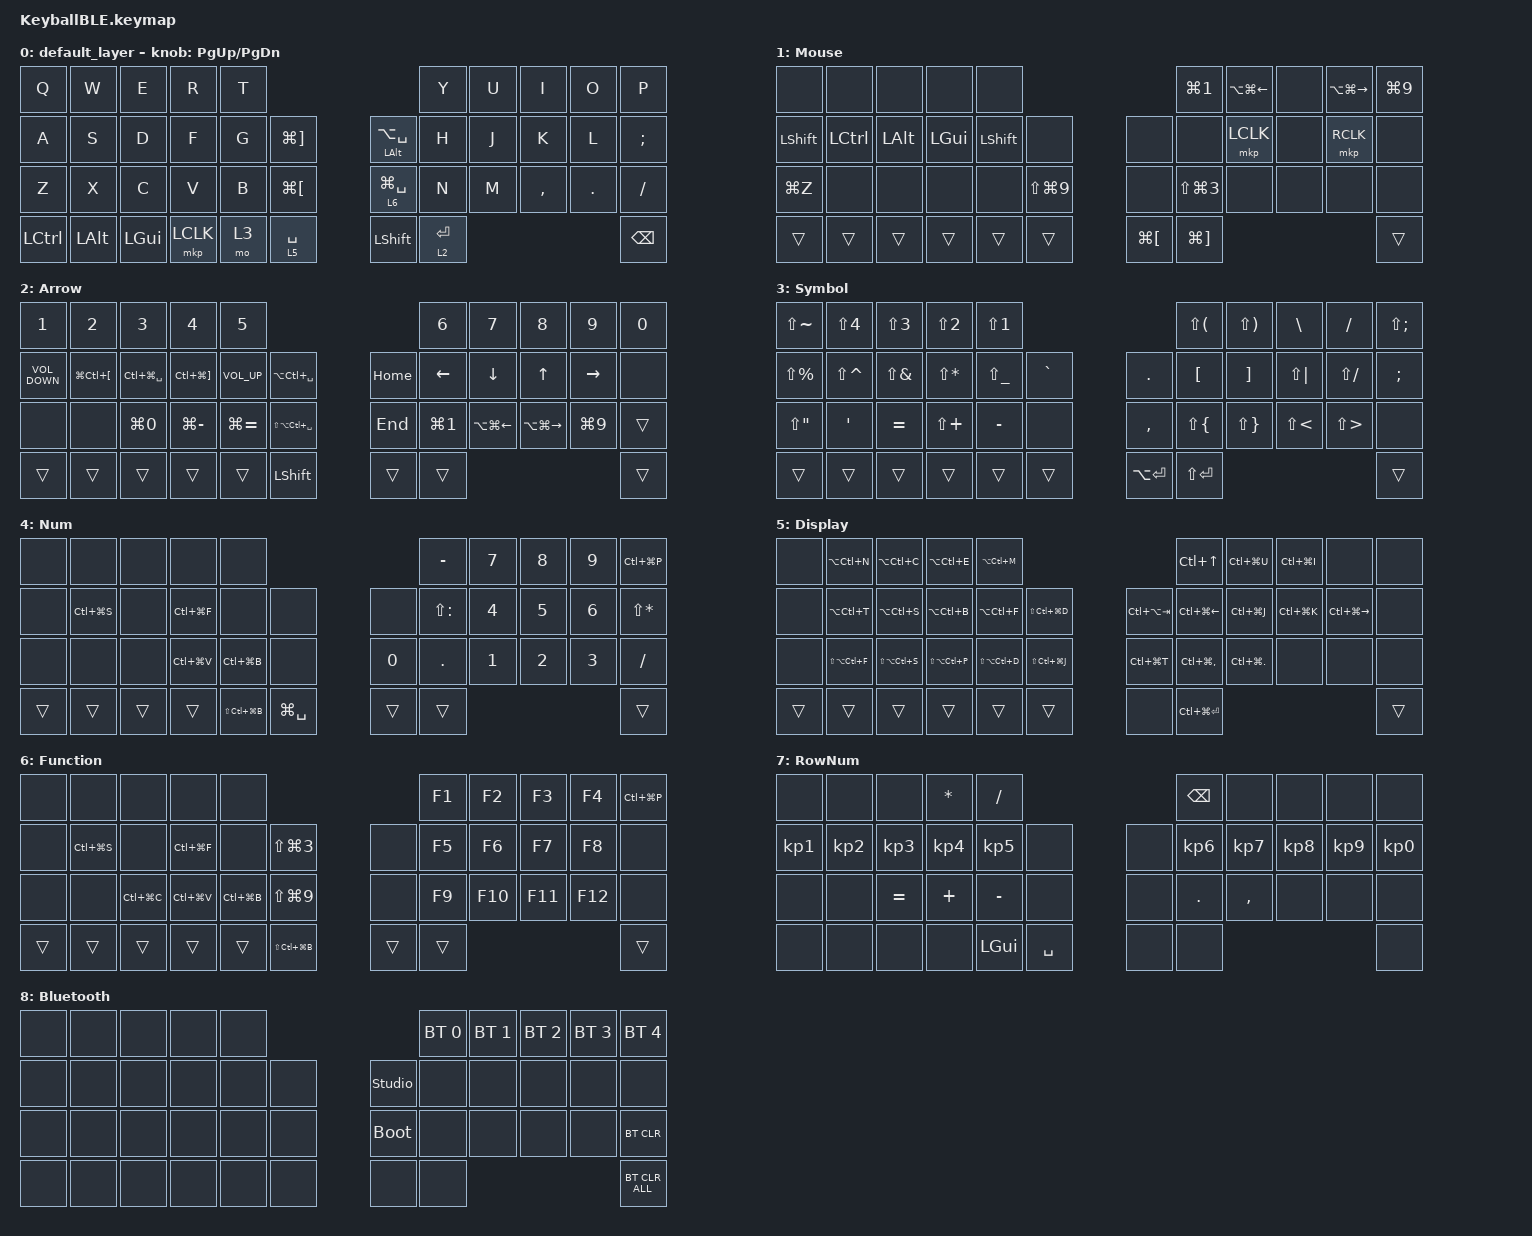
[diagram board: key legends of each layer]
#include <behaviors.dtsi>
#include <dt-bindings/zmk/bt.h>
#include <dt-bindings/zmk/keys.h>
#include <dt-bindings/zmk/pointing.h>

#define MOUSE 4
#define SCROLL 5
#define NUM 6

&mt {
    flavor = "balanced";
    quick-tap-ms = <0>;
};

/ {
    combos {
        compatible = "zmk,combos";

        tab {
            bindings = <&kp TAB>;
            key-positions = <13 12>;
            layers = <0>;
        };

        esc {
            bindings = <&kp ESCAPE>;
            key-positions = <0 1>;
        };

        ime {
            bindings = <&kp LC(SPACE)>;
            key-positions = <18 19>;
            layers = <0>;
        };

        rightperenthensis {
            bindings = <&kp LEFT_PARENTHESIS>;
            key-positions = <5 6>;
        };

        leftparenthesis {
            bindings = <&kp RIGHT_PARENTHESIS>;
            key-positions = <6 7>;
        };

        screenshot {
            bindings = <&kp LS(LG(NUMBER_3))>;
            key-positions = <31 32>;
        };
    };

    macros {
        to_layer_0: to_layer_0 {
            compatible = "zmk,behavior-macro-one-param";
            #binding-cells = <1>;
            bindings = <&to 0 &macro_param_1to1 &kp MACRO_PLACEHOLDER>;
            label = "TO_LAYER_0";
        };
    };

    behaviors {
        lt_to_layer_0: lt_to_layer_0 {
            compatible = "zmk,behavior-hold-tap";
            label = "LAYER_TAP_TO_0";
            bindings = <&mo>, <&to_layer_0>;

            #binding-cells = <2>;
            tapping-term-ms = <200>;
        };
    };

    keymap {
        compatible = "zmk,keymap";

        default_layer {
            bindings = <
&kp Q      &kp W         &kp E         &kp R      &kp T                                                     &kp Y        &kp U  &kp I      &kp O       &kp P
&kp A      &kp S         &kp D         &kp F      &kp G  &kp LG(RIGHT_BRACKET)      &mt LEFT_ALT LA(SPACE)  &kp H        &kp J  &kp K      &kp L       &kp SEMI
&kp Z      &kp X         &kp C         &kp V      &kp B  &kp LG(LEFT_BRACKET)       &lt 6 LG(SPACE)         &kp N        &kp M  &kp COMMA  &kp PERIOD  &kp SLASH
&kp LCTRL  &kp LEFT_ALT  &kp LEFT_GUI  &mkp LCLK  &mo 3  &lt 5 SPACE                &kp LEFT_SHIFT          &lt 2 ENTER                                &kp BACKSPACE
            >;

            sensor-bindings = <&inc_dec_kp PG_UP PAGE_DOWN>;
        };

        Mouse {
            bindings = <
&none           &none      &none         &none         &none                                                           &kp LG(NUMBER_1)       &kp LA(LG(LEFT_ARROW))  &none  &kp LA(LG(RIGHT_ARROW))  &kp LG(NUMBER_9)
&kp LEFT_SHIFT  &kp LCTRL  &kp LEFT_ALT  &kp LEFT_GUI  &kp LEFT_SHIFT  &none                     &none                 &none                  &mkp LCLK               &none  &mkp RCLK                &none
&kp LG(Z)       &none      &none         &none         &none           &kp LS(LG(NUMBER_9))      &none                 &kp LS(LG(NUMBER_3))   &none                   &none  &none                    &none
&trans          &trans     &trans        &trans        &trans          &trans                    &kp LG(LEFT_BRACKET)  &kp LG(RIGHT_BRACKET)                                                          &trans
            >;
        };

        Arrow {
            bindings = <
&kp NUMBER_1       &kp NUMBER_2              &kp NUMBER_3       &kp NUMBER_4               &kp N5                                                &kp NUMBER_6      &kp NUMBER_7            &kp N8                   &kp NUMBER_9      &kp NUMBER_0
&kp C_VOLUME_DOWN  &kp LG(LC(LEFT_BRACKET))  &kp LC(LG(SPACE))  &kp LC(LG(RIGHT_BRACKET))  &kp C_VOLUME_UP  &kp LA(LC(SPACE))          &kp HOME  &kp LEFT_ARROW    &kp DOWN_ARROW          &kp UP_ARROW             &kp RIGHT_ARROW   &none
&none              &none                     &kp LG(NUMBER_0)   &kp LG(MINUS)              &kp LG(EQUAL)    &kp LS(LA(LC(SPACE)))      &kp END   &kp LG(NUMBER_1)  &kp LA(LG(LEFT_ARROW))  &kp LA(LG(RIGHT_ARROW))  &kp LG(NUMBER_9)  &trans
&trans             &trans                    &trans             &trans                     &trans           &kp LEFT_SHIFT             &trans    &trans                                                                               &trans
            >;
        };

        Symbol {
            bindings = <
&kp LS(TILDE)  &kp LS(NUMBER_4)  &kp LS(NUMBER_3)  &kp LS(NUMBER_2)  &kp LS(NUMBER_1)                                &kp LS(LPAR)   &kp LS(RPAR)  &kp BACKSLASH  &kp SLASH      &kp LS(SEMICOLON)
&kp LS(PRCNT)  &kp LS(CARET)     &kp LS(AMPS)      &kp LS(STAR)      &kp LS(UNDER)     &kp GRAVE      &kp PERIOD     &kp LBKT       &kp RBKT      &kp LS(PIPE)   &kp LS(SLASH)  &kp SEMICOLON
&kp LS(DQT)    &kp SQT           &kp EQUAL         &kp LS(PLUS)      &kp MINUS         &none          &kp COMMA      &kp LS(LBRC)   &kp LS(RBRC)  &kp LS(LT)     &kp LS(GT)     &none
&trans         &trans            &trans            &trans            &trans            &trans         &kp LA(ENTER)  &kp LS(ENTER)                                              &trans
            >;
        };

        Num {
            bindings = <
&none   &none          &none   &none          &none                                         &kp MINUS      &kp N7  &kp N8  &kp N9  &kp LC(LG(P))
&none   &kp LC(LG(S))  &none   &kp LC(LG(F))  &none              &none              &none   &kp LS(COLON)  &kp N4  &kp N5  &kp N6  &kp LS(STAR)
&none   &none          &none   &kp LC(LG(V))  &kp LC(LG(B))      &none              &kp N0  &kp DOT        &kp N1  &kp N2  &kp N3  &kp FSLH
&trans  &trans         &trans  &trans         &kp LS(LC(LG(B)))  &kp LG(SPACE)      &trans  &trans                                 &trans
            >;
        };

        Display {
            bindings = <
&none   &kp LA(LC(N))      &kp LA(LC(C))      &kp LA(LC(E))      &kp LA(LC(M))                                              &kp LC(UP_ARROW)        &kp LC(LG(U))       &kp LC(LG(I))  &none                    &none
&none   &kp LA(LC(T))      &kp LA(LC(S))      &kp LA(LC(B))      &kp LA(LC(F))      &kp LS(LC(LG(D)))      &kp LC(LA(TAB))  &kp LC(LG(LEFT_ARROW))  &kp LC(LG(J))       &kp LC(LG(K))  &kp LC(LG(RIGHT_ARROW))  &none
&none   &kp LS(LA(LC(F)))  &kp LS(LA(LC(S)))  &kp LS(LA(LC(P)))  &kp LS(LA(LC(D)))  &kp LS(LC(LG(J)))      &kp LC(LG(T))    &kp LC(LG(COMMA))       &kp LC(LG(PERIOD))  &none          &none                    &none
&trans  &trans             &trans             &trans             &trans             &trans                 &none            &kp LC(LG(ENTER))                                                                   &trans
            >;
        };

        Function {
            bindings = <
&none   &none          &none          &none          &none                                            &kp F1  &kp F2   &kp F3   &kp F4   &kp LC(LG(P))
&none   &kp LC(LG(S))  &none          &kp LC(LG(F))  &none          &kp LS(LG(NUMBER_3))      &none   &kp F5  &kp F6   &kp F7   &kp F8   &none
&none   &none          &kp LC(LG(C))  &kp LC(LG(V))  &kp LC(LG(B))  &kp LS(LG(NUMBER_9))      &none   &kp F9  &kp F10  &kp F11  &kp F12  &none
&trans  &trans         &trans         &trans         &trans         &kp LS(LC(LG(B)))         &trans  &trans                             &trans
            >;
        };

        RowNum {
            bindings = <
&none            &none            &none            &kp ASTERISK     &kp SLASH                              &kp BACKSPACE    &none            &none            &none            &none
&kp KP_NUMBER_1  &kp KP_NUMBER_2  &kp KP_NUMBER_3  &kp KP_NUMBER_4  &kp KP_NUMBER_5  &none          &none  &kp KP_NUMBER_6  &kp KP_NUMBER_7  &kp KP_NUMBER_8  &kp KP_NUMBER_9  &kp KP_NUMBER_0
&none            &none            &kp EQUAL        &kp PLUS         &kp MINUS        &none          &none  &kp PERIOD       &kp COMMA        &none            &none            &none
&none            &none            &none            &none            &kp LEFT_GUI     &kp SPACE      &none  &none                                                               &none
            >;
        };

        Bluetooth {
            bindings = <
&none  &none  &none  &none  &none                             &bt BT_SEL 0  &bt BT_SEL 1  &bt BT_SEL 2  &bt BT_SEL 3  &bt BT_SEL 4
&none  &none  &none  &none  &none  &none      &studio_unlock  &none         &none         &none         &none         &none
&none  &none  &none  &none  &none  &none      &bootloader     &none         &none         &none         &none         &bt BT_CLR
&none  &none  &none  &none  &none  &none      &none           &none                                                   &bt BT_CLR_ALL
            >;
        };
    };
};
